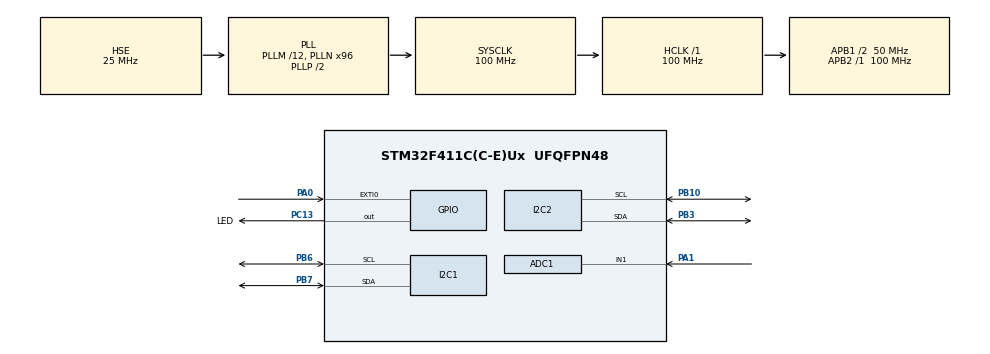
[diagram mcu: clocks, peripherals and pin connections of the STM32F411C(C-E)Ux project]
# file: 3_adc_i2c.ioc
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ADC1.Channel-0\#ChannelRegularConversion=ADC_CHANNEL_1
ADC1.ContinuousConvMode=ENABLE
ADC1.NbrOfConversion=1
ADC1.NbrOfConversionFlag=1
ADC1.Rank-0\#ChannelRegularConversion=1
ADC1.SamplingTime-0\#ChannelRegularConversion=ADC_SAMPLETIME_3CYCLES
ADC1.master=1
Mcu.Family=STM32F4
Mcu.Name=STM32F411C(C-E)Ux
Mcu.Package=UFQFPN48
NVIC.ADC_IRQn=true\:0\:0\:false\:false\:true\:true\:true\:true
NVIC.PriorityGroup=NVIC_PRIORITYGROUP_4
PA0-WKUP.Signal=GPXTI0
PA1.Signal=ADCx_IN1
PA13.Mode=Serial_Wire
PA13.Signal=SYS_JTMS-SWDIO
PA14.Mode=Serial_Wire
PA14.Signal=SYS_JTCK-SWCLK
PB10.Mode=I2C
PB10.Signal=I2C2_SCL
PB3.Mode=I2C
PB3.Signal=I2C2_SDA
PB6.Mode=I2C
PB6.Signal=I2C1_SCL
PB7.Mode=I2C
PB7.Signal=I2C1_SDA
PC13-ANTI_TAMP.GPIO_Label=LED
PC13-ANTI_TAMP.Signal=GPIO_Output
PH0\ -\ OSC_IN.Mode=HSE-External-Oscillator
PH0\ -\ OSC_IN.Signal=RCC_OSC_IN
PH1\ -\ OSC_OUT.Mode=HSE-External-Oscillator
PH1\ -\ OSC_OUT.Signal=RCC_OSC_OUT
ProjectManager.HeapSize=0x200
ProjectManager.StackSize=0x400
ProjectManager.TargetToolchain=STM32CubeIDE
RCC.48MHZClocksFreq_Value=50000000
RCC.AHBFreq_Value=100000000
RCC.APB1CLKDivider=RCC_HCLK_DIV2
RCC.APB1Freq_Value=50000000
RCC.APB1TimFreq_Value=100000000
RCC.APB2Freq_Value=100000000
RCC.APB2TimFreq_Value=100000000
RCC.CortexFreq_Value=100000000
RCC.HCLKFreq_Value=100000000
RCC.HSE_VALUE=25000000
RCC.HSI_VALUE=16000000
RCC.LSE_VALUE=32768
RCC.PLLM=12
RCC.PLLN=96
RCC.PLLSourceVirtual=RCC_PLLSOURCE_HSE
RCC.SYSCLKFreq_VALUE=100000000
RCC.SYSCLKSource=RCC_SYSCLKSOURCE_PLLCLK
RCC.VCOOutputFreq_Value=200000000
SH.ADCx_IN1.0=ADC1_IN1,IN1
board=custom

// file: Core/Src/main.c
/* USER CODE BEGIN Header */
/**
  ******************************************************************************
  * @file           : main.c
  * @brief          : Main program body
  ******************************************************************************
  * @attention
  *
  * Copyright (c) 2023 STMicroelectronics.
  * All rights reserved.
  *
  * This software is licensed under terms that can be found in the LICENSE file
  * in the root directory of this software component.
  * If no LICENSE file comes with this software, it is provided AS-IS.
  *
  ******************************************************************************
  */
/* USER CODE END Header */
#include "main.h"

/* USER CODE BEGIN Includes */
#include "string.h"
#include "LCD_I2C.h"
#include "stdio.h"
/* USER CODE END Includes */

/* USER CODE BEGIN PD */
#define Linha_1 (0x80 | 0x00)
#define Linha_2 (0x80 | 0x40)
#define Linha_3 (0x80 | 0x14)
#define Linha_4 (0x80 | 0x54)
/* USER CODE END PD */

ADC_HandleTypeDef hadc1;

I2C_HandleTypeDef hi2c1;
I2C_HandleTypeDef hi2c2;

/* USER CODE BEGIN PV */
uint32_t resto;
uint32_t A;
uint32_t B;
uint32_t V;
uint32_t adc_valor;
uint32_t dac_valor;
char valor_string[6];
char dac_string[6];
char V_string[6];
char buf[2];
/* USER CODE END PV */

void SystemClock_Config(void);
static void MX_GPIO_Init(void);
static void MX_ADC1_Init(void);
static void MX_I2C1_Init(void);
static void MX_I2C2_Init(void);

int main(void)
{

  /* MCU Configuration--------------------------------------------------------*/

  /* Reset of all peripherals, Initializes the Flash interface and the Systick. */
  HAL_Init();

  /* USER CODE BEGIN Init */
HAL_StatusTypeDef RET;
  /* USER CODE END Init */

  /* Configure the system clock */
  SystemClock_Config();

  /* Initialize all configured peripherals */
  MX_GPIO_Init();
  MX_ADC1_Init();
  MX_I2C1_Init();
  MX_I2C2_Init();
  /* USER CODE BEGIN 2 */
  lcd_init();
  HAL_ADC_Start_IT(&hadc1);
  /* USER CODE END 2 */

  /* Infinite loop */
  /* USER CODE BEGIN WHILE */
  while (1){

	dac_valor = adc_valor/2;
	buf[0] = (uint8_t)(dac_valor>>8);
	buf[1] = (uint8_t)(dac_valor);

	RET = HAL_I2C_Master_Transmit(&hi2c2, (0x60)<<1, buf, 2, 50);

	if(RET == HAL_OK){
		HAL_GPIO_WritePin(GPIOC, LED_Pin, 0);
	}
	else{
		HAL_GPIO_WritePin(GPIOC, LED_Pin,1);
	}

	lcd_send_cmd(Linha_1);
	lcd_send_string("Valor da Tensao");
	lcd_send_cmd(Linha_2);
	lcd_send_string(" =");
	lcd_send_cmd(Linha_2+3);

	A = 3.3*adc_valor;
	B = 4095;

	sprintf(valor_string, "%d", A/B);
	strcat(valor_string, ",");
	resto = A % B;
	for(int k=1; k<=4; k++)
	{
		A = 10*resto;
		resto = A % B;
		V = A/B;
		sprintf(V_string, "%d", V);
		strcat(valor_string, V_string);
	}
	strcat(valor_string," [V]");
	lcd_send_string(valor_string);
	HAL_Delay(500);
	HAL_ADC_Start_IT(&hadc1);
    /* USER CODE END WHILE */

  }
}

void SystemClock_Config(void)
{
  RCC_OscInitTypeDef RCC_OscInitStruct = {0};
  RCC_ClkInitTypeDef RCC_ClkInitStruct = {0};

  /** Configure the main internal regulator output voltage
  */
  __HAL_RCC_PWR_CLK_ENABLE();
  __HAL_PWR_VOLTAGESCALING_CONFIG(PWR_REGULATOR_VOLTAGE_SCALE1);

  /** Initializes the RCC Oscillators according to the specified parameters
  * in the RCC_OscInitTypeDef structure.
  */
  RCC_OscInitStruct.OscillatorType = RCC_OSCILLATORTYPE_HSE;
  RCC_OscInitStruct.HSEState = RCC_HSE_ON;
  RCC_OscInitStruct.PLL.PLLState = RCC_PLL_ON;
  RCC_OscInitStruct.PLL.PLLSource = RCC_PLLSOURCE_HSE;
  RCC_OscInitStruct.PLL.PLLM = 12;
  RCC_OscInitStruct.PLL.PLLN = 96;
  RCC_OscInitStruct.PLL.PLLP = RCC_PLLP_DIV2;
  RCC_OscInitStruct.PLL.PLLQ = 4;
  if (HAL_RCC_OscConfig(&RCC_OscInitStruct) != HAL_OK)
  {
    Error_Handler();
  }

  /** Initializes the CPU, AHB and APB buses clocks
  */
  RCC_ClkInitStruct.ClockType = RCC_CLOCKTYPE_HCLK|RCC_CLOCKTYPE_SYSCLK
                              |RCC_CLOCKTYPE_PCLK1|RCC_CLOCKTYPE_PCLK2;
  RCC_ClkInitStruct.SYSCLKSource = RCC_SYSCLKSOURCE_PLLCLK;
  RCC_ClkInitStruct.AHBCLKDivider = RCC_SYSCLK_DIV1;
  RCC_ClkInitStruct.APB1CLKDivider = RCC_HCLK_DIV2;
  RCC_ClkInitStruct.APB2CLKDivider = RCC_HCLK_DIV1;

  if (HAL_RCC_ClockConfig(&RCC_ClkInitStruct, FLASH_LATENCY_3) != HAL_OK)
  {
    Error_Handler();
  }
}

static void MX_ADC1_Init(void)
{

  ADC_ChannelConfTypeDef sConfig = {0};

  /** Configure the global features of the ADC (Clock, Resolution, Data Alignment and number of conversion)
  */
  hadc1.Instance = ADC1;
  hadc1.Init.ClockPrescaler = ADC_CLOCK_SYNC_PCLK_DIV4;
  hadc1.Init.Resolution = ADC_RESOLUTION_12B;
  hadc1.Init.ScanConvMode = DISABLE;
  hadc1.Init.ContinuousConvMode = ENABLE;
  hadc1.Init.DiscontinuousConvMode = DISABLE;
  hadc1.Init.ExternalTrigConvEdge = ADC_EXTERNALTRIGCONVEDGE_NONE;
  hadc1.Init.ExternalTrigConv = ADC_SOFTWARE_START;
  hadc1.Init.DataAlign = ADC_DATAALIGN_RIGHT;
  hadc1.Init.NbrOfConversion = 1;
  hadc1.Init.DMAContinuousRequests = DISABLE;
  hadc1.Init.EOCSelection = ADC_EOC_SINGLE_CONV;
  if (HAL_ADC_Init(&hadc1) != HAL_OK)
  {
    Error_Handler();
  }

  /** Configure for the selected ADC regular channel its corresponding rank in the sequencer and its sample time.
  */
  sConfig.Channel = ADC_CHANNEL_1;
  sConfig.Rank = 1;
  sConfig.SamplingTime = ADC_SAMPLETIME_3CYCLES;
  if (HAL_ADC_ConfigChannel(&hadc1, &sConfig) != HAL_OK)
  {
    Error_Handler();
  }

}

static void MX_I2C1_Init(void)
{

  hi2c1.Instance = I2C1;
  hi2c1.Init.ClockSpeed = 100000;
  hi2c1.Init.DutyCycle = I2C_DUTYCYCLE_2;
  hi2c1.Init.OwnAddress1 = 0;
  hi2c1.Init.AddressingMode = I2C_ADDRESSINGMODE_7BIT;
  hi2c1.Init.DualAddressMode = I2C_DUALADDRESS_DISABLE;
  hi2c1.Init.OwnAddress2 = 0;
  hi2c1.Init.GeneralCallMode = I2C_GENERALCALL_DISABLE;
  hi2c1.Init.NoStretchMode = I2C_NOSTRETCH_DISABLE;
  if (HAL_I2C_Init(&hi2c1) != HAL_OK)
  {
    Error_Handler();
  }

}

static void MX_I2C2_Init(void)
{

  hi2c2.Instance = I2C2;
  hi2c2.Init.ClockSpeed = 100000;
  hi2c2.Init.DutyCycle = I2C_DUTYCYCLE_2;
  hi2c2.Init.OwnAddress1 = 0;
  hi2c2.Init.AddressingMode = I2C_ADDRESSINGMODE_7BIT;
  hi2c2.Init.DualAddressMode = I2C_DUALADDRESS_DISABLE;
  hi2c2.Init.OwnAddress2 = 0;
  hi2c2.Init.GeneralCallMode = I2C_GENERALCALL_DISABLE;
  hi2c2.Init.NoStretchMode = I2C_NOSTRETCH_DISABLE;
  if (HAL_I2C_Init(&hi2c2) != HAL_OK)
  {
    Error_Handler();
  }

}

static void MX_GPIO_Init(void)
{
  GPIO_InitTypeDef GPIO_InitStruct = {0};

  /* GPIO Ports Clock Enable */
  __HAL_RCC_GPIOC_CLK_ENABLE();
  __HAL_RCC_GPIOH_CLK_ENABLE();
  __HAL_RCC_GPIOA_CLK_ENABLE();
  __HAL_RCC_GPIOB_CLK_ENABLE();

  /*Configure GPIO pin Output Level */
  HAL_GPIO_WritePin(LED_GPIO_Port, LED_Pin, GPIO_PIN_RESET);

  /*Configure GPIO pin : LED_Pin */
  GPIO_InitStruct.Pin = LED_Pin;
  GPIO_InitStruct.Mode = GPIO_MODE_OUTPUT_PP;
  GPIO_InitStruct.Pull = GPIO_NOPULL;
  GPIO_InitStruct.Speed = GPIO_SPEED_FREQ_LOW;
  HAL_GPIO_Init(LED_GPIO_Port, &GPIO_InitStruct);

  /*Configure GPIO pin : PA0 */
  GPIO_InitStruct.Pin = GPIO_PIN_0;
  GPIO_InitStruct.Mode = GPIO_MODE_IT_RISING;
  GPIO_InitStruct.Pull = GPIO_NOPULL;
  HAL_GPIO_Init(GPIOA, &GPIO_InitStruct);

}

/* USER CODE BEGIN 4 */
void HAL_ADC_ConvCpltCallback(ADC_HandleTypeDef *hadc1)
{
	adc_valor = HAL_ADC_GetValue(hadc1);
	HAL_ADC_Stop_IT(hadc1);
}

/* USER CODE END 4 */

void Error_Handler(void)
{
  __disable_irq();
  while (1)
  {
  }
}
